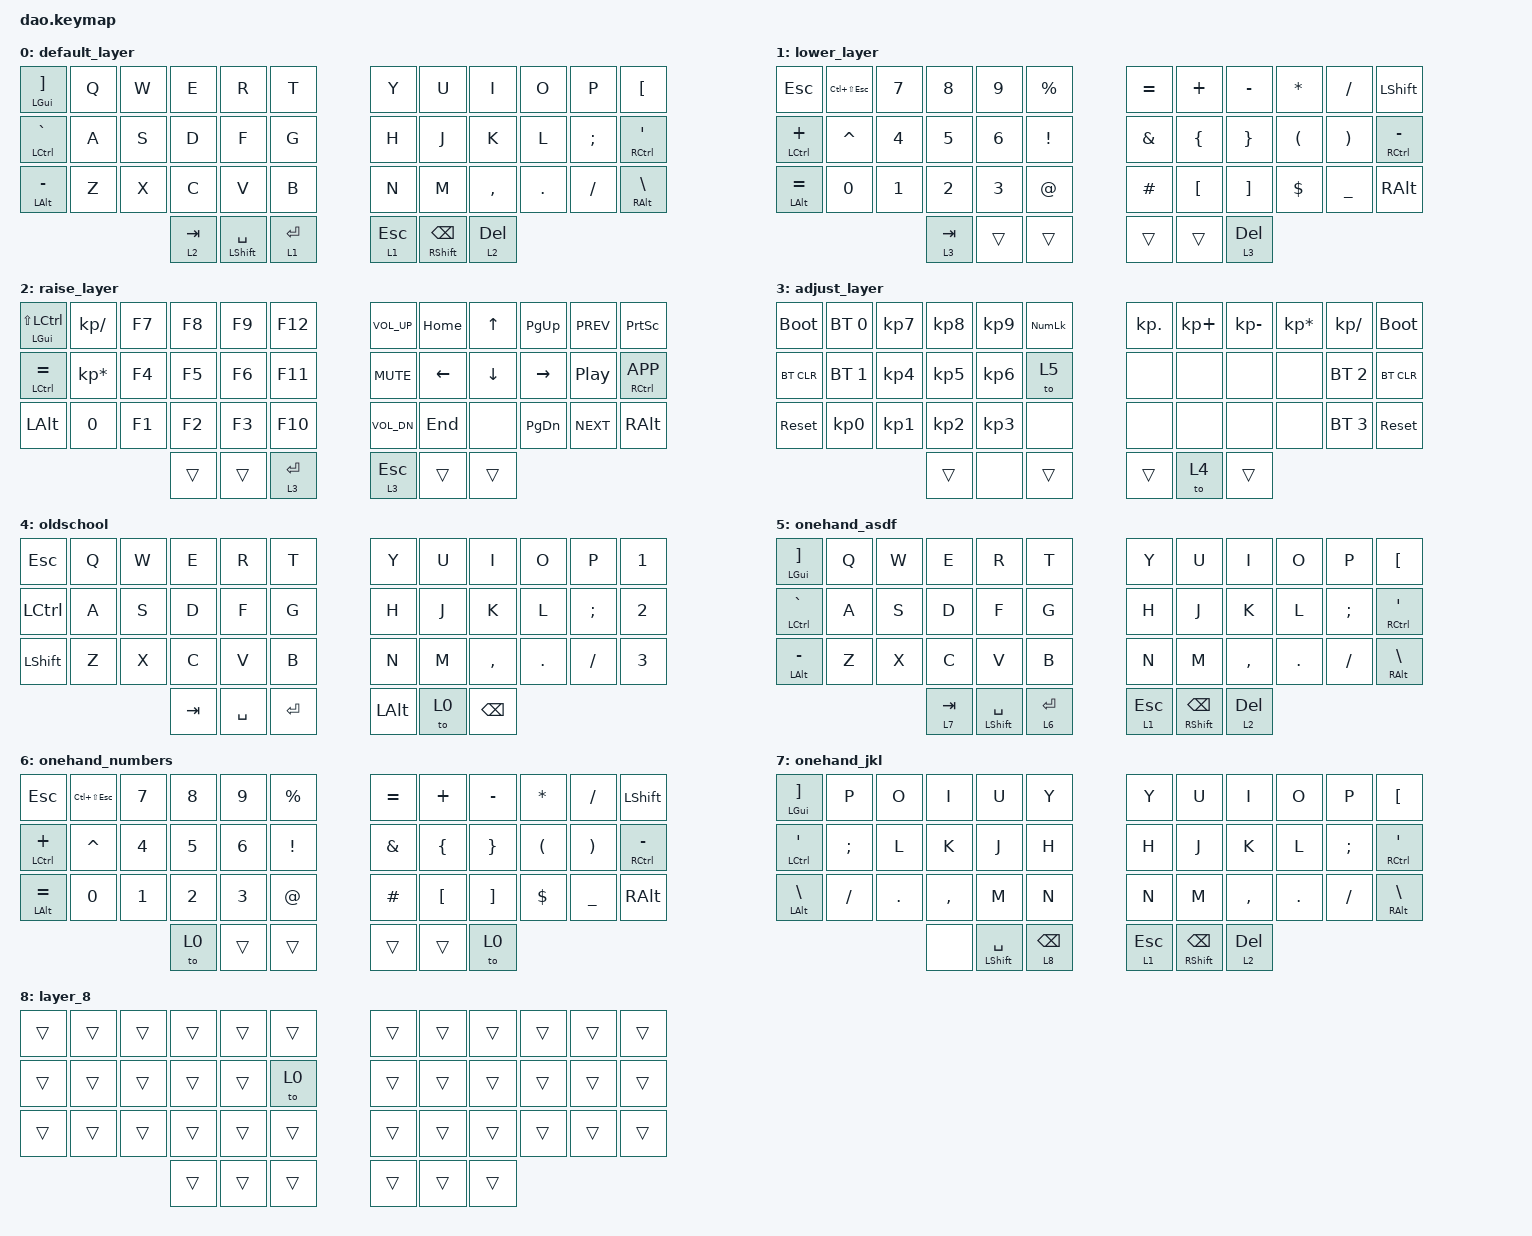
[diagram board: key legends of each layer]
/*
 * Copyright (c) 2021 Rafael Yumagulov
 *
 * SPDX-License-Identifier: MIT
 */

#include <behaviors.dtsi>
#include <dt-bindings/zmk/bt.h>
#include <dt-bindings/zmk/keys.h>

#define DEF 0
#define LWR 1
#define RSE 2
#define ADJ 3

&lt { quick_tap_ms = <200>; };

&mt { quick_tap_ms = <200>; };

/ {
    chosen {
        zmk,matrix_transform = &default_transform;

        // zmk,matrix_transform = &extra_keys_transform;
    };
};

/ {
    behaviors {
        hm: homerow_mods {
            compatible = "zmk,behavior-hold-tap";
            #binding-cells = <2>;
            tapping-term-ms = <200>;
            quick-tap-ms = <0>;
            flavor = "tap-preferred";
            bindings = <&kp>, <&kp>;
        };

        bhm: balanced_homerow_mods {
            compatible = "zmk,behavior-hold-tap";
            #binding-cells = <2>;
            tapping-term-ms = <200>;    // <---[[moderate duration]]
            quick-tap-ms = <0>;
            flavor = "balanced";
            bindings = <&kp>, <&kp>;
        };

        hhm: holdpref_homerow_mods {
            compatible = "zmk,behavior-hold-tap";
            #binding-cells = <2>;
            tapping-term-ms = <200>;
            quick-tap-ms = <0>;
            flavor = "hold-preferred";
            bindings = <&kp>, <&kp>;
        };

        rpi: require_prior_idle {
            compatible = "zmk,behavior-hold-tap";
            #binding-cells = <2>;
            flavor = "tap-preferred";
            tapping-term-ms = <200>;
            quick-tap-ms = <200>;
            require-prior-idle-ms = <125>;
            bindings = <&kp>, <&kp>;
        };
    };

    keymap {
        compatible = "zmk,keymap";

        default_layer {
            bindings = <
&mt LGUI RBKT    &kp Q  &kp W  &kp E      &kp R             &kp T      &kp Y      &kp U           &kp I      &kp O    &kp P     &kp LBKT
&mt LCTRL GRAVE  &kp A  &kp S  &kp D      &kp F             &kp G      &kp H      &kp J           &kp K      &kp L    &kp SEMI  &mt RCTRL SQT
&mt LALT MINUS   &kp Z  &kp X  &kp C      &kp V             &kp B      &kp N      &kp M           &kp COMMA  &kp DOT  &kp FSLH  &mt RALT BSLH
                               &lt 2 TAB  &hhm LSHFT SPACE  &lt 1 RET  &lt 1 ESC  &mt RSHFT BSPC  &lt 2 DEL
            >;
        };

        lower_layer {
            bindings = <
&kp ESC         &kp LC(LS(ESCAPE))  &kp N7  &kp N8     &kp N9  &kp PERCENT  &kp EQUAL  &kp PLUS          &kp MINUS          &kp STAR    &kp FSLH   &kp LSHFT
&mt LCTRL PLUS  &kp CARET           &kp N4  &kp N5     &kp N6  &kp EXCL     &kp AMPS   &kp LEFT_BRACE    &kp RIGHT_BRACE    &kp LPAR    &kp RPAR   &mt RCTRL MINUS
&mt LALT EQUAL  &kp N0              &kp N1  &kp N2     &kp N3  &kp AT       &kp HASH   &kp LEFT_BRACKET  &kp RIGHT_BRACKET  &kp DOLLAR  &kp UNDER  &kp RALT
                                            &lt 3 TAB  &trans  &trans       &trans     &trans            &lt 3 DEL
            >;
        };

        raise_layer {
            bindings = <
&mt LGUI LS(LCTRL)  &kp KP_SLASH     &kp F7  &kp F8  &kp F9  &kp F12    &kp C_VOL_UP  &kp HOME  &kp UP          &kp PG_UP  &kp C_PREV        &kp PRINTSCREEN
&mt LCTRL EQUAL     &kp KP_MULTIPLY  &kp F4  &kp F5  &kp F6  &kp F11    &kp C_MUTE    &kp LEFT  &kp DOWN_ARROW  &kp RIGHT  &kp C_PLAY_PAUSE  &mt RCTRL K_APP
&kp LALT            &kp N0           &kp F1  &kp F2  &kp F3  &kp F10    &kp C_VOL_DN  &kp END   &none           &kp PG_DN  &kp C_NEXT        &kp RALT
                                             &trans  &trans  &lt 3 RET  &lt 3 ESC     &trans    &trans
            >;
        };

        adjust_layer {
            bindings = <
&bootloader  &bt BT_SEL 0     &kp KP_NUMBER_7  &kp KP_NUMBER_8  &kp KP_NUMBER_9  &kp KP_NUMLOCK  &kp KP_DOT  &kp KP_PLUS  &kp KP_MINUS  &kp KP_MULTIPLY  &kp KP_DIVIDE  &bootloader
&bt BT_CLR   &bt BT_SEL 1     &kp KP_NUMBER_4  &kp KP_NUMBER_5  &kp KP_NUMBER_6  &to 5           &none       &none        &none         &none            &bt BT_SEL 2   &bt BT_CLR
&sys_reset   &kp KP_NUMBER_0  &kp KP_NUMBER_1  &kp KP_NUMBER_2  &kp KP_NUMBER_3  &none           &none       &none        &none         &none            &bt BT_SEL 3   &sys_reset
                                               &trans           &none            &trans          &trans      &to 4        &trans
            >;
        };

        oldschool {
            bindings = <
&kp ESC    &kp Q  &kp W  &kp E    &kp R      &kp T      &kp Y     &kp U  &kp I      &kp O    &kp P     &kp N1
&kp LCTRL  &kp A  &kp S  &kp D    &kp F      &kp G      &kp H     &kp J  &kp K      &kp L    &kp SEMI  &kp N2
&kp LSHFT  &kp Z  &kp X  &kp C    &kp V      &kp B      &kp N     &kp M  &kp COMMA  &kp DOT  &kp FSLH  &kp N3
                         &kp TAB  &kp SPACE  &kp ENTER  &kp LALT  &to 0  &kp BSPC
            >;
        };

        onehand_asdf {
            bindings = <
&mt LGUI RBKT    &kp Q  &kp W  &kp E      &kp R             &kp T      &kp Y      &kp U           &kp I      &kp O    &kp P     &kp LBKT
&mt LCTRL GRAVE  &kp A  &kp S  &kp D      &kp F             &kp G      &kp H      &kp J           &kp K      &kp L    &kp SEMI  &mt RCTRL SQT
&mt LALT MINUS   &kp Z  &kp X  &kp C      &kp V             &kp B      &kp N      &kp M           &kp COMMA  &kp DOT  &kp FSLH  &mt RALT BSLH
                               &lt 7 TAB  &hhm LSHFT SPACE  &lt 6 RET  &lt 1 ESC  &mt RSHFT BSPC  &lt 2 DEL
            >;
        };

        onehand_numbers {
            bindings = <
&kp ESC         &kp LC(LS(ESCAPE))  &kp N7  &kp N8  &kp N9  &kp PERCENT  &kp EQUAL  &kp PLUS          &kp MINUS          &kp STAR    &kp FSLH   &kp LSHFT
&mt LCTRL PLUS  &kp CARET           &kp N4  &kp N5  &kp N6  &kp EXCL     &kp AMPS   &kp LEFT_BRACE    &kp RIGHT_BRACE    &kp LPAR    &kp RPAR   &mt RCTRL MINUS
&mt LALT EQUAL  &kp N0              &kp N1  &kp N2  &kp N3  &kp AT       &kp HASH   &kp LEFT_BRACKET  &kp RIGHT_BRACKET  &kp DOLLAR  &kp UNDER  &kp RALT
                                            &to 0   &trans  &trans       &trans     &trans            &to 0
            >;
        };

        onehand_jkl {
            bindings = <
&mt LGUI RBKT       &kp P     &kp O    &kp I      &kp U              &kp Y            &kp Y      &kp U           &kp I      &kp O    &kp P     &kp LBKT
&mt LCTRL SQT       &kp SEMI  &kp L    &kp K      &kp J              &kp H            &kp H      &kp J           &kp K      &kp L    &kp SEMI  &mt RCTRL SQT
&mt LALT BACKSLASH  &kp FSLH  &kp DOT  &kp COMMA  &kp M              &kp N            &kp N      &kp M           &kp COMMA  &kp DOT  &kp FSLH  &mt RALT BSLH
                                       &none      &hhm LSHIFT SPACE  &lt 8 BACKSPACE  &lt 1 ESC  &mt RSHFT BSPC  &lt 2 DEL
            >;
        };

        layer_8 {
            bindings = <
&trans  &trans  &trans  &trans  &trans  &trans  &trans  &trans  &trans  &trans  &trans  &trans
&trans  &trans  &trans  &trans  &trans  &to 0   &trans  &trans  &trans  &trans  &trans  &trans
&trans  &trans  &trans  &trans  &trans  &trans  &trans  &trans  &trans  &trans  &trans  &trans
                        &trans  &trans  &trans  &trans  &trans  &trans
            >;
        };
    };
};
